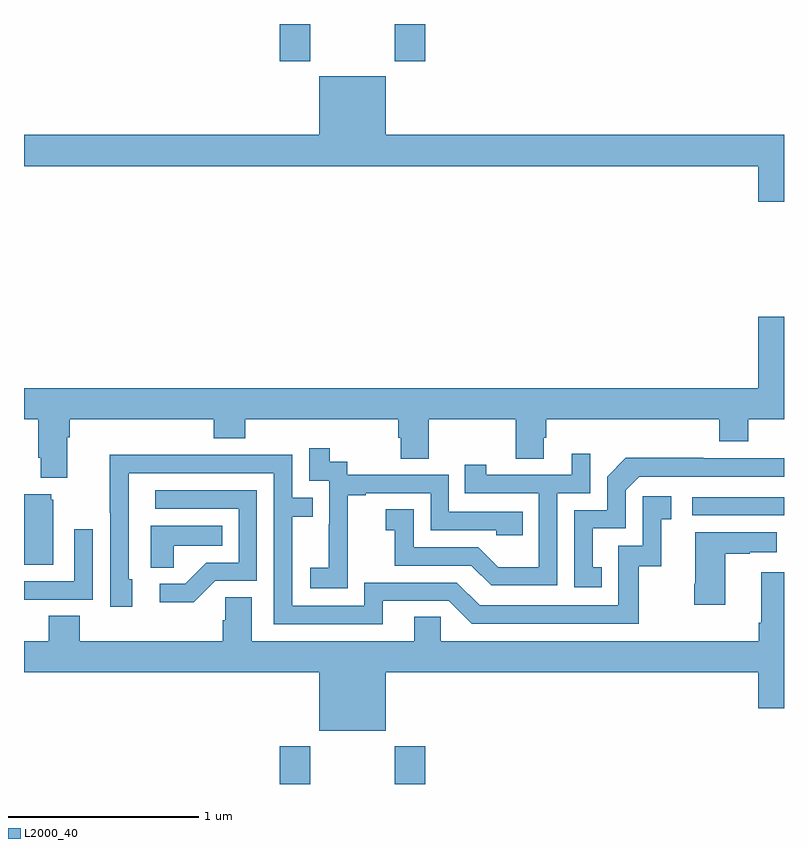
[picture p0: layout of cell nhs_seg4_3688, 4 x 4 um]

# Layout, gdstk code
import gdstk
lib = gdstk.Library(unit=1e-6, precision=1e-09)
def R(c, l, rs):  # rectangles x0, y0, x1, y1
    for r in rs: c.add(gdstk.rectangle(r[:2], r[2:], *l))
def P(c, l, *ps):  # polygons
    for p in ps: c.add(gdstk.Polygon(p, *l))
L2000_40 = (2000, 40)

nhs_seg4_3688 = lib.new_cell('nhs_seg4_3688')
R(nhs_seg4_3688, L2000_40, [(306.347,794.9,306.507,795.1), (306.952,794.9,307.112,795.1), (308.517,796.314,309,796.41), (306.347,798.705,306.507,798.9), (306.952,798.705,307.112,798.9)])
P(nhs_seg4_3688, L2000_40, [(309,798.316),(306.904,798.316),(306.904,798.625),(306.554,798.625),(306.554,798.316),(305,798.316),(305,798.152),(308.864,798.152),(308.864,797.964),(309,797.964)],
  [(305.227,796.724),(305.24,796.724),(305.24,796.82),(305.999,796.82),(305.999,796.721),(306.164,796.721),(306.164,796.82),(306.971,796.82),(306.971,796.722),(306.983,796.722),(306.983,796.612),(307.131,796.612),(307.131,796.82),(307.588,796.82),(307.588,796.612),(307.735,796.612),(307.735,796.722),(307.748,796.722),(307.748,796.82),(308.66,796.82),(308.66,796.703),(308.812,796.703),(308.812,796.82),(309,796.82),(309,797.359),(308.864,797.359),(308.864,796.984),(305,796.984),(305,796.82),(305.075,796.82),(305.075,796.618),(305.087,796.618),(305.087,796.511),(305.227,796.511)],
  [(306.705,796.135),(306.704,796.135),(306.704,796.419),(306.799,796.419),(306.799,796.431),(307.14,796.431),(307.14,796.236),(307.485,796.236),(307.485,796.209),(307.625,796.209),(307.625,796.332),(307.236,796.332),(307.236,796.527),(306.702,796.527),(306.702,796.596),(306.61,796.596),(306.61,796.666),(306.501,796.666),(306.501,796.497),(306.606,796.497),(306.606,796.268),(306.605,796.268),(306.605,796.039),(306.507,796.039),(306.507,795.929),(306.705,795.929)],
  [(307.806,796.431),(307.98,796.431),(307.98,796.639),(307.883,796.639),(307.883,796.527),(307.432,796.527),(307.432,796.579),(307.321,796.579),(307.321,796.431),(307.71,796.431),(307.71,796.042),(307.496,796.042),(307.392,796.146),(307.05,796.146),(307.05,796.345),(306.903,796.345),(306.903,796.235),(306.952,796.235),(306.952,796.05),(307.355,796.05),(307.46,795.945),(307.806,795.945)],
  [(306.889,795.864),(307.236,795.864),(307.356,795.744),(308.236,795.744),(308.236,796.047),(308.354,796.047),(308.354,796.293),(308.407,796.293),(308.407,796.414),(308.256,796.414),(308.256,796.155),(308.127,796.155),(308.127,795.84),(307.398,795.84),(307.278,795.96),(306.792,795.96),(306.792,795.837),(306.411,795.837),(306.411,796.306),(306.521,796.306),(306.521,796.407),(306.411,796.407),(306.411,796.632),(305.915,796.632),(305.915,796.634),(305.452,796.634),(305.452,796.327),(305.454,796.327),(305.454,795.834),(305.569,795.834),(305.569,795.978),(305.55,795.978),(305.55,796.536),(306.315,796.536),(306.315,795.741),(306.889,795.741)],
  [(308.042,796.041),(307.993,796.041),(307.993,796.245),(308.166,796.245),(308.166,796.446),(308.238,796.518),(309,796.518),(309,796.614),(308.576,796.614),(308.576,796.616),(308.168,796.616),(308.07,796.518),(308.07,796.341),(307.896,796.341),(307.896,795.936),(308.042,795.936)],
  [(306.006,795.969),(306.225,795.969),(306.225,796.446),(305.691,796.446),(305.691,796.35),(306.129,796.35),(306.129,796.065),(305.96,796.065),(305.849,795.954),(305.715,795.954),(305.715,795.857),(305.893,795.857)],
  [(305.155,796.395),(305.144,796.395),(305.144,796.426),(305,796.426),(305,796.055),(305.155,796.055)],
  [(305.787,796.154),(306.044,796.154),(306.044,796.258),(305.666,796.258),(305.666,796.039),(305.787,796.039)],
  [(305.045,795.87),(305.361,795.87),(305.361,796.24),(305.265,796.24),(305.265,795.966),(305,795.966),(305,795.869),(305.045,795.869)],
  [(308.692,796.111),(308.819,796.111),(308.819,796.121),(308.962,796.121),(308.962,796.225),(308.534,796.225),(308.534,795.955),(308.527,795.955),(308.527,795.843),(308.692,795.843)],
  [(306.904,795.488),(308.864,795.488),(308.864,795.3),(309,795.3),(309,796.015),(308.879,796.015),(308.879,795.748),(308.867,795.748),(308.867,795.652),(307.194,795.652),(307.194,795.779),(307.055,795.779),(307.055,795.652),(306.199,795.652),(306.199,795.884),(306.06,795.884),(306.06,795.761),(306.047,795.761),(306.047,795.652),(305.294,795.652),(305.294,795.785),(305.129,795.785),(305.129,795.652),(305,795.652),(305,795.488),(306.554,795.488),(306.554,795.179),(306.904,795.179)])

lib.write_gds('nhs_seg4_3688.gds')
